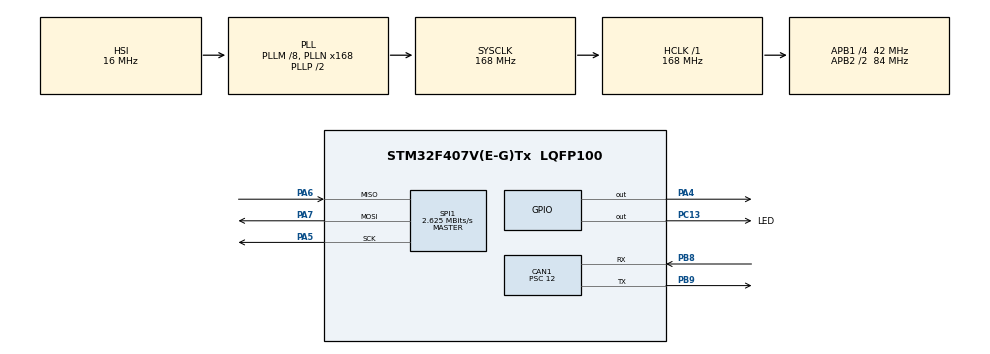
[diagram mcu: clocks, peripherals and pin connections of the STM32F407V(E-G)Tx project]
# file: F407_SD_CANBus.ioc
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CAN1.BS1=CAN_BS1_3TQ
CAN1.BS2=CAN_BS2_3TQ
CAN1.CalculateBaudRate=500000
CAN1.CalculateTimeBit=2000
CAN1.CalculateTimeQuantum=285.7142857142857
CAN1.Prescaler=12
FATFS._MAX_SS=4096
FATFS._USE_LFN=1
Mcu.Family=STM32F4
Mcu.Name=STM32F407V(E-G)Tx
Mcu.Package=LQFP100
NVIC.PriorityGroup=NVIC_PRIORITYGROUP_4
PA13.Mode=Serial_Wire
PA13.Signal=SYS_JTMS-SWDIO
PA14.Mode=Serial_Wire
PA14.Signal=SYS_JTCK-SWCLK
PA4.Signal=GPIO_Output
PA5.Mode=Full_Duplex_Master
PA5.Signal=SPI1_SCK
PA6.Mode=Full_Duplex_Master
PA6.Signal=SPI1_MISO
PA7.Mode=Full_Duplex_Master
PA7.Signal=SPI1_MOSI
PB8.Mode=CAN_Activate
PB8.Signal=CAN1_RX
PB9.Mode=CAN_Activate
PB9.Signal=CAN1_TX
PC13-ANTI_TAMP.GPIO_Label=LED
PC13-ANTI_TAMP.Signal=GPIO_Output
PH0-OSC_IN.Mode=HSE-External-Oscillator
PH0-OSC_IN.Signal=RCC_OSC_IN
PH1-OSC_OUT.Mode=HSE-External-Oscillator
PH1-OSC_OUT.Signal=RCC_OSC_OUT
ProjectManager.HeapSize=0x200
ProjectManager.StackSize=0x400
ProjectManager.TargetToolchain=STM32CubeIDE
RCC.48MHZClocksFreq_Value=84000000
RCC.AHBFreq_Value=168000000
RCC.APB1CLKDivider=RCC_HCLK_DIV4
RCC.APB1Freq_Value=42000000
RCC.APB1TimFreq_Value=84000000
RCC.APB2CLKDivider=RCC_HCLK_DIV2
RCC.APB2Freq_Value=84000000
RCC.APB2TimFreq_Value=168000000
RCC.CortexFreq_Value=168000000
RCC.HCLKFreq_Value=168000000
RCC.HSE_VALUE=25000000
RCC.HSI_VALUE=16000000
RCC.LSE_VALUE=32768
RCC.PLLM=8
RCC.PLLN=168
RCC.SYSCLKFreq_VALUE=168000000
RCC.SYSCLKSource=RCC_SYSCLKSOURCE_PLLCLK
RCC.VCOOutputFreq_Value=336000000
SPI1.BaudRatePrescaler=SPI_BAUDRATEPRESCALER_32
SPI1.CalculateBaudRate=2.625 MBits/s
SPI1.Direction=SPI_DIRECTION_2LINES
SPI1.Mode=SPI_MODE_MASTER
SPI1.VirtualType=VM_MASTER
VP_FATFS_VS_Generic.Mode=User_defined
board=custom

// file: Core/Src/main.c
/* USER CODE BEGIN Header */
/**
  ******************************************************************************
  * @file           : main.c
  * @brief          : Main program body
  ******************************************************************************
  * @attention
  *
  * Copyright (c) 2024 STMicroelectronics.
  * All rights reserved.
  *
  * This software is licensed under terms that can be found in the LICENSE file
  * in the root directory of this software component.
  * If no LICENSE file comes with this software, it is provided AS-IS.
  *
  ******************************************************************************
  */
/* USER CODE END Header */
#include "main.h"
#include "fatfs.h"

/* USER CODE BEGIN Includes */
#include "fatfs_sd.h"
#include "string.h"
#include "stdio.h"

/* USER CODE END Includes */

CAN_HandleTypeDef hcan1;

SPI_HandleTypeDef hspi1;

/* USER CODE BEGIN PV */
uint32_t TxMailbox;

float dataReceive[2];
char fileName[20];
FRESULT res;
FATFS fs;  // file system
FIL fil; // File
FILINFO fno;
FRESULT fresult;  // result
UINT br, bw;  // File read/write count

/**** capacity related *****/
FATFS *pfs;
DWORD fre_clust;
uint32_t total;
uint32_t free_space;
char buffer[128];

/* USER CODE END PV */

void SystemClock_Config(void);
static void MX_GPIO_Init(void);
static void MX_SPI1_Init(void);
static void MX_CAN1_Init(void);
/* USER CODE BEGIN PFP */
void create_new_file();
void getCAN1(void);
/* USER CODE END PFP */

/* USER CODE BEGIN 0 */
struct carData{
	  float voltage1;
	  float voltage2;
	  float voltage3;
	  float voltage4;
	  float voltage5;
	  float voltage6;
	  float voltage7;
	  float voltage8;
	  float voltage9;
	  float voltage10;
	  float voltage11;
	  float voltage12;
	  float voltage13;
	  float voltage14;
	  float voltage15;
	  float voltage16;
	  float voltage17;
	  float voltage18;
	  float voltage19;
	  float voltage20;
	  float totalVoltage;
	  float batteryTemp1;
	  float batteryTemp2;
	  float batteryTemp3;
	  float batteryTemp4;
	  float testTemp;
	  float motorTemp;
	  float speed;
	  float current;
	  float remainEnergy;
}data1;
CAN_RxHeaderTypeDef RxHeader1;
/* USER CODE END 0 */

int main(void)
{

  /* MCU Configuration--------------------------------------------------------*/

  /* Reset of all peripherals, Initializes the Flash interface and the Systick. */
  HAL_Init();

  /* Configure the system clock */
  SystemClock_Config();

  /* Initialize all configured peripherals */
  MX_GPIO_Init();
  MX_SPI1_Init();
  MX_FATFS_Init();
  MX_CAN1_Init();
  /* USER CODE BEGIN 2 */
  HAL_CAN_Start(&hcan1);
  create_new_file();
  /* USER CODE END 2 */

  /* Infinite loop */
  while (1)
  {

    /* USER CODE BEGIN 3 */
	  HAL_GPIO_WritePin(LED_GPIO_Port, LED_Pin, 0);
	  HAL_Delay(50);
	  getCAN1();

	  data1.totalVoltage = data1.voltage1 + data1.voltage2 + data1.voltage3 +data1.voltage4 + data1.voltage5 + data1.voltage6 + data1.voltage7 + data1.voltage8 + data1.voltage9 + data1.voltage10 + data1.voltage11 + data1.voltage12 + data1.voltage13 + data1.voltage14 + data1.voltage15 + data1.voltage16 + data1.voltage17 + data1.voltage18 + data1.voltage19 + data1.voltage20;
	  data1.current =24;
	  data1.remainEnergy  = (data1.totalVoltage - 64.00)*100/20;
	  data1.speed = 25;
	  //gps_satallite = 8;

	  uint32_t a = HAL_GetTick();;

     HAL_Delay(50);

	 fresult = f_mount(&fs, "", 0);
	 fresult = f_open(&fil, fileName, FA_OPEN_ALWAYS | FA_WRITE | FA_READ);
	 fresult =  f_lseek(&fil,f_size(&fil));
	 //"zaman_ms; hiz_km/h; sicaklik_C; toplamVoltaj_V; kalanEnerji_%\n"
	 snprintf(buffer, sizeof(buffer), "%-8lu; %-8d; %-10.2f; %-14.2f; %-13d\n",a,(int)data1.speed,data1.batteryTemp4, data1.totalVoltage,(int)data1.remainEnergy);

     fresult = f_puts(buffer,&fil);
     fresult = f_close(&fil);

  }
  /* USER CODE END 3 */
}

void SystemClock_Config(void)
{
  RCC_OscInitTypeDef RCC_OscInitStruct = {0};
  RCC_ClkInitTypeDef RCC_ClkInitStruct = {0};

  /** Configure the main internal regulator output voltage
  */
  __HAL_RCC_PWR_CLK_ENABLE();
  __HAL_PWR_VOLTAGESCALING_CONFIG(PWR_REGULATOR_VOLTAGE_SCALE1);

  /** Initializes the RCC Oscillators according to the specified parameters
  * in the RCC_OscInitTypeDef structure.
  */
  RCC_OscInitStruct.OscillatorType = RCC_OSCILLATORTYPE_HSI;
  RCC_OscInitStruct.HSIState = RCC_HSI_ON;
  RCC_OscInitStruct.HSICalibrationValue = RCC_HSICALIBRATION_DEFAULT;
  RCC_OscInitStruct.PLL.PLLState = RCC_PLL_ON;
  RCC_OscInitStruct.PLL.PLLSource = RCC_PLLSOURCE_HSI;
  RCC_OscInitStruct.PLL.PLLM = 8;
  RCC_OscInitStruct.PLL.PLLN = 168;
  RCC_OscInitStruct.PLL.PLLP = RCC_PLLP_DIV2;
  RCC_OscInitStruct.PLL.PLLQ = 4;
  if (HAL_RCC_OscConfig(&RCC_OscInitStruct) != HAL_OK)
  {
    Error_Handler();
  }

  /** Initializes the CPU, AHB and APB buses clocks
  */
  RCC_ClkInitStruct.ClockType = RCC_CLOCKTYPE_HCLK|RCC_CLOCKTYPE_SYSCLK
                              |RCC_CLOCKTYPE_PCLK1|RCC_CLOCKTYPE_PCLK2;
  RCC_ClkInitStruct.SYSCLKSource = RCC_SYSCLKSOURCE_PLLCLK;
  RCC_ClkInitStruct.AHBCLKDivider = RCC_SYSCLK_DIV1;
  RCC_ClkInitStruct.APB1CLKDivider = RCC_HCLK_DIV4;
  RCC_ClkInitStruct.APB2CLKDivider = RCC_HCLK_DIV2;

  if (HAL_RCC_ClockConfig(&RCC_ClkInitStruct, FLASH_LATENCY_5) != HAL_OK)
  {
    Error_Handler();
  }
}

static void MX_CAN1_Init(void)
{

  hcan1.Instance = CAN1;
  hcan1.Init.Prescaler = 12;
  hcan1.Init.Mode = CAN_MODE_NORMAL;
  hcan1.Init.SyncJumpWidth = CAN_SJW_1TQ;
  hcan1.Init.TimeSeg1 = CAN_BS1_3TQ;
  hcan1.Init.TimeSeg2 = CAN_BS2_3TQ;
  hcan1.Init.TimeTriggeredMode = DISABLE;
  hcan1.Init.AutoBusOff = DISABLE;
  hcan1.Init.AutoWakeUp = DISABLE;
  hcan1.Init.AutoRetransmission = DISABLE;
  hcan1.Init.ReceiveFifoLocked = DISABLE;
  hcan1.Init.TransmitFifoPriority = DISABLE;
  if (HAL_CAN_Init(&hcan1) != HAL_OK)
  {
    Error_Handler();
  }
  /* USER CODE BEGIN CAN1_Init 2 */
  CAN_FilterTypeDef canfilterconfig;

  canfilterconfig.FilterActivation = CAN_FILTER_ENABLE;
  canfilterconfig.FilterBank = 10;  // which filter bank to use from the assigned ones
  canfilterconfig.FilterFIFOAssignment = CAN_FILTER_FIFO0;
  canfilterconfig.FilterIdHigh = 0x000<<5;
  canfilterconfig.FilterIdLow = 0;
  canfilterconfig.FilterMaskIdHigh = 0x000<<5;
  canfilterconfig.FilterMaskIdLow = 0x0000;
  canfilterconfig.FilterMode = CAN_FILTERMODE_IDMASK;
  canfilterconfig.FilterScale = CAN_FILTERSCALE_32BIT;
  canfilterconfig.SlaveStartFilterBank = 14;  // how many filters to assign to the CAN1 (master can)

  HAL_CAN_ConfigFilter(&hcan1, &canfilterconfig);

  /* USER CODE END CAN1_Init 2 */

}

static void MX_SPI1_Init(void)
{

  /* SPI1 parameter configuration*/
  hspi1.Instance = SPI1;
  hspi1.Init.Mode = SPI_MODE_MASTER;
  hspi1.Init.Direction = SPI_DIRECTION_2LINES;
  hspi1.Init.DataSize = SPI_DATASIZE_8BIT;
  hspi1.Init.CLKPolarity = SPI_POLARITY_LOW;
  hspi1.Init.CLKPhase = SPI_PHASE_1EDGE;
  hspi1.Init.NSS = SPI_NSS_SOFT;
  hspi1.Init.BaudRatePrescaler = SPI_BAUDRATEPRESCALER_32;
  hspi1.Init.FirstBit = SPI_FIRSTBIT_MSB;
  hspi1.Init.TIMode = SPI_TIMODE_DISABLE;
  hspi1.Init.CRCCalculation = SPI_CRCCALCULATION_DISABLE;
  hspi1.Init.CRCPolynomial = 10;
  if (HAL_SPI_Init(&hspi1) != HAL_OK)
  {
    Error_Handler();
  }

}

static void MX_GPIO_Init(void)
{
  GPIO_InitTypeDef GPIO_InitStruct = {0};

  /* GPIO Ports Clock Enable */
  __HAL_RCC_GPIOC_CLK_ENABLE();
  __HAL_RCC_GPIOH_CLK_ENABLE();
  __HAL_RCC_GPIOA_CLK_ENABLE();
  __HAL_RCC_GPIOB_CLK_ENABLE();

  /*Configure GPIO pin Output Level */
  HAL_GPIO_WritePin(LED_GPIO_Port, LED_Pin, GPIO_PIN_RESET);

  /*Configure GPIO pin Output Level */
  HAL_GPIO_WritePin(GPIOA, GPIO_PIN_4, GPIO_PIN_RESET);

  /*Configure GPIO pin : LED_Pin */
  GPIO_InitStruct.Pin = LED_Pin;
  GPIO_InitStruct.Mode = GPIO_MODE_OUTPUT_PP;
  GPIO_InitStruct.Pull = GPIO_NOPULL;
  GPIO_InitStruct.Speed = GPIO_SPEED_FREQ_LOW;
  HAL_GPIO_Init(LED_GPIO_Port, &GPIO_InitStruct);

  /*Configure GPIO pin : PA4 */
  GPIO_InitStruct.Pin = GPIO_PIN_4;
  GPIO_InitStruct.Mode = GPIO_MODE_OUTPUT_PP;
  GPIO_InitStruct.Pull = GPIO_NOPULL;
  GPIO_InitStruct.Speed = GPIO_SPEED_FREQ_LOW;
  HAL_GPIO_Init(GPIOA, &GPIO_InitStruct);

}

/* USER CODE BEGIN 4 */
void getCAN1(void) {
	HAL_GPIO_WritePin(LED_GPIO_Port, LED_Pin, 1);
	HAL_Delay(50);
	HAL_CAN_GetRxMessage(&hcan1, CAN_RX_FIFO0, &RxHeader1, dataReceive);

    switch (RxHeader1.ExtId) {
        case 0x0FFFFFF0:
            data1.voltage1 = dataReceive[0];
            data1.voltage2 = dataReceive[1];
            break;
        case 0x0FFFFFF1:
            data1.voltage3 = dataReceive[0];
            data1.voltage4 = dataReceive[1];
            break;
        case 0x0FFFFFF2:
            data1.voltage5 = dataReceive[0];
            data1.voltage6 = dataReceive[1];
            break;
        case 0x0FFFFFF3:
            data1.voltage7 = dataReceive[0];
            data1.voltage8 = dataReceive[1];
            break;
        case 0x0FFFFFF4:
            data1.voltage9 = dataReceive[0];
            data1.voltage10 = dataReceive[1];
            break;
        case 0x0FFFFFF5:
            data1.batteryTemp1 = dataReceive[0];
            data1.batteryTemp2 = dataReceive[1];
            break;
        /*
        case 0x0FFFFFF6:
            iz_res = dataReceive[0];
            ek_res = dataReceive[1];
            break;
         */
        default:
            // Handle unexpected ID
            break;
    }
}
void create_new_file() {
    FRESULT res;
    int s = 0;
    FILINFO fno;
    int is_file_exist = 1;

    f_mount(&fs, "", 0);

    while (is_file_exist) {
        s++;
        if (snprintf(fileName, sizeof(fileName), "values%d.txt", s) >= sizeof(fileName)) {
            // Dosya adı çok uzun, hata işle
            return; // Hata durumunda fonksiyondan çık
        }

        // Dosyanın var olup olmadığını kontrol et
        res = f_stat(fileName, &fno);
        if (res == FR_OK) {
            is_file_exist = 1; // Dosya mevcut
        } else if (res == FR_NO_FILE) {
            is_file_exist = 0; // Dosya mevcut değil
        } else {
            // Diğer hata durumları
            // Hata işleme kodları buraya eklenebilir
            return; // Hata durumunda fonksiyondan çık
        }
    }

    if (!is_file_exist) {
        // Yeni dosya oluşturma işlemi burada yapılabilir
        res = f_open(&fil, fileName, FA_CREATE_NEW | FA_WRITE);
        if (res == FR_OK) {
            // Dosya başarılı bir şekilde oluşturuldu ve açıldı
            const char* header = "zaman_ms; hiz_km/h; sicaklik_C; toplamVoltaj_V; kalanEnerji_%\n";
            if (f_puts(header, &fil) < 0) {
                // Başlık yazma başarısız, hata işle
                f_close(&fil);
                return; // Hata durumunda fonksiyondan çık
            }
            // Dosyayı kapatma
            f_close(&fil);
        } else {
            // Dosya oluşturma/açma başarısız oldu
            // Hata işleme kodları buraya eklenebilir
        }
    }
}

/* USER CODE END 4 */

void Error_Handler(void)
{
  __disable_irq();
  while (1)
  {
  }
}
